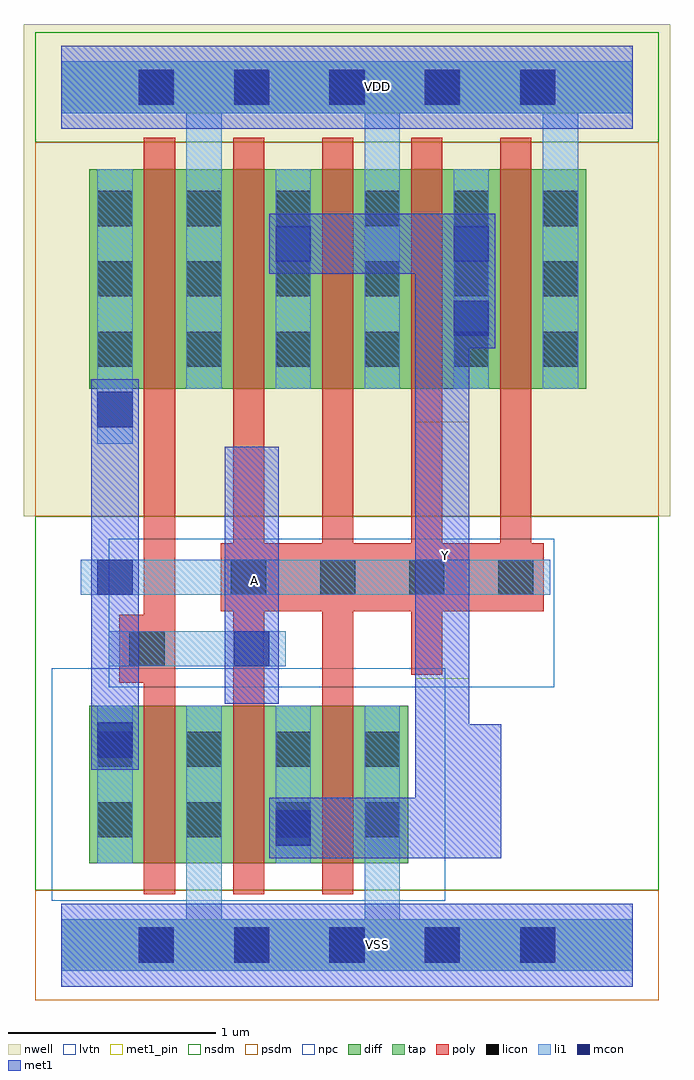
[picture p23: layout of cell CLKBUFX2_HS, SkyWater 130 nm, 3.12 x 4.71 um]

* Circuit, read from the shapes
.subckt CLKBUFX2_HS A VDD VSS Y
XM1 VSS A n1 VSS sky130_fd_pr__nfet_01v8_lvt w=0.76 l=0.15
XM2 Y n1 VSS VSS sky130_fd_pr__nfet_01v8_lvt w=0.76 l=0.15 m=2
XM3 VDD A n1 VDD sky130_fd_pr__pfet_01v8 w=1.06 l=0.15
XM4 Y n1 VDD VDD sky130_fd_pr__pfet_01v8 w=1.06 l=0.15 m=4
.ends

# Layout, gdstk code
import gdstk
lib = gdstk.Library(unit=1e-6, precision=1e-09)
def R(c, l, rs):  # rectangles x0, y0, x1, y1
    for r in rs: c.add(gdstk.rectangle(r[:2], r[2:], *l))
def A(c, l, x, y, w, h, nx, ny, dx, dy):  # array of equal rectangles
    R(c, l, [(x+i*dx, y+j*dy, x+i*dx+w, y+j*dy+h) for i in range(nx) for j in range(ny)])
nwell = (64, 20)
diff = (65, 20)
tap = (65, 44)
poly = (66, 20)
licon = (66, 44)
li1 = (67, 20)
mcon = (67, 44)
met1_pin = (68, 16)
met1 = (68, 20)
nsdm = (93, 44)
psdm = (94, 20)
npc = (95, 20)
lvtn = (125, 44)

l1m1_c_cdns_750721774076 = lib.new_cell('L1M1_C_CDNS_750721774076')
R(l1m1_c_cdns_750721774076, li1, [(-0.085,-0.345,0.085,0.345)])
R(l1m1_c_cdns_750721774076, mcon, [(-0.085,-0.265,0.085,-0.095), (-0.085,0.095,0.085,0.265)])
R(l1m1_c_cdns_750721774076, met1, [(-0.115,-0.325,0.115,0.325)])

pyl1con_c_cdns_750721774 = lib.new_cell('PYL1CON_C_CDNS_750721774073')
R(pyl1con_c_cdns_750721774, poly, [(-0.135,-0.165,0.135,0.165)])
R(pyl1con_c_cdns_750721774, licon, [(-0.085,-0.085,0.085,0.085)])
R(pyl1con_c_cdns_750721774, npc, [(-0.185,-0.185,0.185,0.185)])

l1m1_c_cdns_750721774072 = lib.new_cell('L1M1_C_CDNS_750721774072')
R(l1m1_c_cdns_750721774072, li1, [(-0.085,-0.165,0.085,0.165)])
R(l1m1_c_cdns_750721774072, mcon, [(-0.085,-0.085,0.085,0.085)])
R(l1m1_c_cdns_750721774072, met1, [(-0.115,-0.145,0.115,0.145)])

l1m1_c_cdns_750721774074 = lib.new_cell('L1M1_C_CDNS_750721774074')
R(l1m1_c_cdns_750721774074, li1, [(-0.165,-0.085,0.165,0.085)])
R(l1m1_c_cdns_750721774074, mcon, [(-0.085,-0.085,0.085,0.085)])
R(l1m1_c_cdns_750721774074, met1, [(-0.115,-0.145,0.115,0.145)])

clkbufx2_hs = lib.new_cell('CLKBUFX2_HS')
R(clkbufx2_hs, nwell, [(-0.18,2.07,2.94,4.305), (-0.045,2.505,0.955,3.925), (0.595,2.505,2.715,3.925), (-0.18,3.875,2.94,4.445)])
A(clkbufx2_hs, diff, 0.4, 0.395, 0.15, 0.76, 3, 1, 0.43, 0)
A(clkbufx2_hs, diff, 0.4, 2.685, 0.15, 1.06, 5, 1, 0.43, 0)
A(clkbufx2_hs, diff, 0.98, 2.685, 0.28, 1.06, 3, 1, 0.43, 0)
R(clkbufx2_hs, diff, [(0.135,0.395,0.4,1.155), (0.55,0.395,0.775,1.155), (0.775,0.395,0.83,1.155), (0.98,0.395,1.26,1.155), (1.41,0.395,1.675,1.155), (0.135,2.685,0.4,3.745), (0.55,2.685,0.775,3.745), (0.775,2.685,0.83,3.745), (2.27,2.685,2.535,3.745)])
A(clkbufx2_hs, poly, 0.4, 0.245, 0.15, 0.055, 3, 2, 0.43, 1.005)
A(clkbufx2_hs, poly, 0.4, 0.3, 0.15, 0.095, 3, 2, 0.43, 0.855)
A(clkbufx2_hs, poly, 0.4, 0.395, 0.15, 0.76, 3, 1, 0.43, 0)
A(clkbufx2_hs, poly, 0.83, 1.44, 0.15, 0.885, 3, 1, 0.43, 0)
A(clkbufx2_hs, poly, 0.4, 2.535, 0.15, 0.055, 5, 2, 0.43, 1.305)
A(clkbufx2_hs, poly, 0.4, 2.59, 0.15, 0.095, 5, 2, 0.43, 1.155)
A(clkbufx2_hs, poly, 0.4, 2.685, 0.15, 1.06, 5, 1, 0.43, 0)
R(clkbufx2_hs, poly, [(0.4,1.5,0.55,2.325), (0.77,1.61,2.33,1.94)])
A(clkbufx2_hs, licon, 0.375, -0.085, 0.17, 0.17, 5, 2, 0.46, 4.14)
A(clkbufx2_hs, licon, 0.175, 0.52, 0.17, 0.17, 4, 2, 0.43, 0.34)
A(clkbufx2_hs, licon, 0.175, 2.79, 0.17, 0.17, 6, 3, 0.43, 0.34)
A(clkbufx2_hs, li1, 0.175, 0.395, 0.17, 0.76, 4, 1, 0.43, 0)
A(clkbufx2_hs, li1, 0.175, 2.685, 0.17, 1.06, 6, 1, 0.43, 0)
A(clkbufx2_hs, li1, 0.605, 3.55, 0.17, 0.67, 3, 1, 0.86, 0)
R(clkbufx2_hs, li1, [(0.605,-0.085,0.775,0.945), (1.465,-0.085,1.635,1.155)])
A(clkbufx2_hs, mcon, 0.375, -0.085, 0.17, 0.17, 5, 2, 0.46, 4.14)
R(clkbufx2_hs, met1_pin, [(0.79,1.165,1.05,2.405), (1.71,1.285,1.97,2.525)])
R(clkbufx2_hs, nsdm, [(-0.125,0.265,2.885,2.07), (-0.005,0.265,0.785,1.285), (0.765,0.265,1.815,1.285), (-0.125,3.875,2.885,4.405), (-0.125,3.93,2.885,4.35)])
R(clkbufx2_hs, psdm, [(-0.125,-0.265,2.885,0.265), (-0.125,-0.21,2.885,0.21), (-0.125,2.07,2.885,3.875), (-0.005,2.555,0.785,3.875), (0.765,2.555,2.675,3.875)])
R(clkbufx2_hs, npc, [(0.23,1.245,2.38,1.96)])
R(clkbufx2_hs, lvtn, [(-0.045,0.215,0.955,1.335), (0.595,0.215,1.855,1.335)])
clkbufx2_hs.add(gdstk.FlexPath([(0.26,0.99),(0.26,0.82)], 0.17, ends="flush", simple_path=True, layer=67, datatype=20))  # li1
clkbufx2_hs.add(gdstk.FlexPath([(0.26,3.05),(0.175,3.05)], 0.17, ends=(0.085, 0), simple_path=True, layer=67, datatype=20))  # li1
clkbufx2_hs.add(gdstk.FlexPath([(0.26,2.585),(0.26,3.05)], 0.17, ends=(0, 0.085), simple_path=True, layer=67, datatype=20))  # li1
clkbufx2_hs.add(gdstk.FlexPath([(2.675,0),(0,0)], 0.25, ends=(0.085, 0), simple_path=True, layer=67, datatype=20))  # li1
clkbufx2_hs.add(gdstk.FlexPath([(0.26,1.775),(2.36,1.775)], 0.17, ends="flush", simple_path=True, layer=67, datatype=20))  # li1
clkbufx2_hs.add(gdstk.FlexPath([(2.675,4.14),(0,4.14)], 0.25, ends=(0.085, 0), simple_path=True, layer=67, datatype=20))  # li1
clkbufx2_hs.add(gdstk.FlexPath([(0.855,1.43),(0.23,1.43)], 0.17, ends="flush", simple_path=True, layer=67, datatype=20))  # li1
clkbufx2_hs.add(gdstk.FlexPath([(2.195,1.775),(2.195,2.665)], 0.15, ends="flush", simple_path=True, layer=66, datatype=20))  # poly
clkbufx2_hs.add(gdstk.FlexPath([(1.765,2.325),(1.765,2.665)], 0.15, ends="flush", simple_path=True, layer=66, datatype=20))  # poly
clkbufx2_hs.add(gdstk.FlexPath([(1.335,2.325),(1.335,2.665)], 0.15, ends="flush", simple_path=True, layer=66, datatype=20))  # poly
clkbufx2_hs.add(gdstk.FlexPath([(0.905,2.325),(0.905,2.665)], 0.15, ends="flush", simple_path=True, layer=66, datatype=20))  # poly
clkbufx2_hs.add(gdstk.FlexPath([(0.475,0.97),(0.475,1.43)], 0.15, ends=(0, 0.075), simple_path=True, layer=66, datatype=20))  # poly
clkbufx2_hs.add(gdstk.FlexPath([(0.475,1.43),(0.415,1.43)], 0.15, ends=(0.075, 0), simple_path=True, layer=66, datatype=20))  # poly
clkbufx2_hs.add(gdstk.FlexPath([(1.765,1.305),(1.765,1.61)], 0.15, ends="flush", simple_path=True, layer=66, datatype=20))  # poly
clkbufx2_hs.add(gdstk.FlexPath([(1.335,1.75),(1.41,1.75)], 0.15, ends=(0.075, 0), simple_path=True, layer=66, datatype=20))  # poly
clkbufx2_hs.add(gdstk.FlexPath([(1.335,1.305),(1.335,1.75)], 0.15, ends=(0, 0.075), simple_path=True, layer=66, datatype=20))  # poly
clkbufx2_hs.add(gdstk.FlexPath([(0.475,2.325),(0.475,2.815)], 0.15, ends="flush", simple_path=True, layer=66, datatype=20))  # poly
clkbufx2_hs.add(gdstk.FlexPath([(2.33,1.775),(2.195,1.775)], 0.15, ends=(0, 0.075), simple_path=True, layer=66, datatype=20))  # poly
clkbufx2_hs.add(gdstk.FlexPath([(0.905,1.305),(0.905,1.44)], 0.15, ends="flush", simple_path=True, layer=66, datatype=20))  # poly
clkbufx2_hs.add(gdstk.FlexPath([(0,4.14),(2.76,4.14)], 0.4, ends="flush", simple_path=True, layer=68, datatype=16))  # met1_pin
clkbufx2_hs.add(gdstk.FlexPath([(0,0),(2.76,0)], 0.4, ends="flush", simple_path=True, layer=68, datatype=16))  # met1_pin
clkbufx2_hs.add(gdstk.FlexPath([(1.98,0.565),(1.84,0.565)], 0.29, ends=(0.145, 0), simple_path=True, layer=68, datatype=20))  # met1
clkbufx2_hs.add(gdstk.FlexPath([(0,4.14),(2.76,4.14)], 0.4, ends="flush", simple_path=True, layer=68, datatype=20))  # met1
clkbufx2_hs.add(gdstk.FlexPath([(1.84,3.53),(1.84,0.61)], 0.26, ends="flush", simple_path=True, layer=68, datatype=20))  # met1
clkbufx2_hs.add(gdstk.FlexPath([(0.92,1.165),(0.92,2.405)], 0.26, ends="flush", simple_path=True, layer=68, datatype=20))  # met1
clkbufx2_hs.add(gdstk.FlexPath([(1.84,3.385),(1.12,3.385)], 0.29, ends="flush", simple_path=True, layer=68, datatype=20))  # met1
clkbufx2_hs.add(gdstk.FlexPath([(0,0),(2.76,0)], 0.4, ends="flush", simple_path=True, layer=68, datatype=20))  # met1
clkbufx2_hs.add(gdstk.FlexPath([(0.26,1.185),(0.26,2.73)], 0.23, ends=(0.115, 0), simple_path=True, layer=68, datatype=20))  # met1
clkbufx2_hs.add(gdstk.FlexPath([(1.84,0.565),(1.12,0.565)], 0.29, ends="flush", simple_path=True, layer=68, datatype=20))  # met1
clkbufx2_hs.add(gdstk.FlexPath([(1.98,0.74),(1.98,0.565)], 0.29, ends=(0.325, 0.145), simple_path=True, layer=68, datatype=20))  # met1
clkbufx2_hs.add(gdstk.FlexPath([(0,4.14),(2.76,4.14)], 0.25, ends="flush", simple_path=True, layer=65, datatype=44))  # tap
clkbufx2_hs.add(gdstk.FlexPath([(0,0),(2.76,0)], 0.25, ends="flush", simple_path=True, layer=65, datatype=44))  # tap
clkbufx2_hs.add(gdstk.Reference(l1m1_c_cdns_750721774076, (1.98,3.205)))
clkbufx2_hs.add(gdstk.Reference(pyl1con_c_cdns_750721774, (2.195,1.775), x_reflection=True))
clkbufx2_hs.add(gdstk.Reference(pyl1con_c_cdns_750721774, (1.765,1.775), x_reflection=True))
clkbufx2_hs.add(gdstk.Reference(pyl1con_c_cdns_750721774, (0.415,1.43), x_reflection=True))
clkbufx2_hs.add(gdstk.Reference(pyl1con_c_cdns_750721774, (0.905,1.775), x_reflection=True))
clkbufx2_hs.add(gdstk.Reference(pyl1con_c_cdns_750721774, (1.335,1.775), x_reflection=True))
clkbufx2_hs.add(gdstk.Reference(l1m1_c_cdns_750721774072, (1.12,3.385)))
clkbufx2_hs.add(gdstk.Reference(l1m1_c_cdns_750721774072, (1.12,0.565)))
clkbufx2_hs.add(gdstk.Reference(l1m1_c_cdns_750721774072, (0.26,2.585)))
clkbufx2_hs.add(gdstk.Reference(l1m1_c_cdns_750721774072, (0.26,0.99)))
clkbufx2_hs.add(gdstk.Reference(l1m1_c_cdns_750721774074, (0.26,1.775)))
clkbufx2_hs.add(gdstk.Reference(l1m1_c_cdns_750721774074, (0.92,1.43), x_reflection=True))
clkbufx2_hs.add(gdstk.Label('VDD', (1.525,4.145), layer=68, texttype=5))
clkbufx2_hs.add(gdstk.Label('A', (0.935,1.76), layer=68, texttype=5))
clkbufx2_hs.add(gdstk.Label('Y', (1.855,1.88), layer=68, texttype=5))
clkbufx2_hs.add(gdstk.Label('VSS', (1.525,0.005), layer=68, texttype=5))

lib.write_gds('CLKBUFX2_HS.gds')
